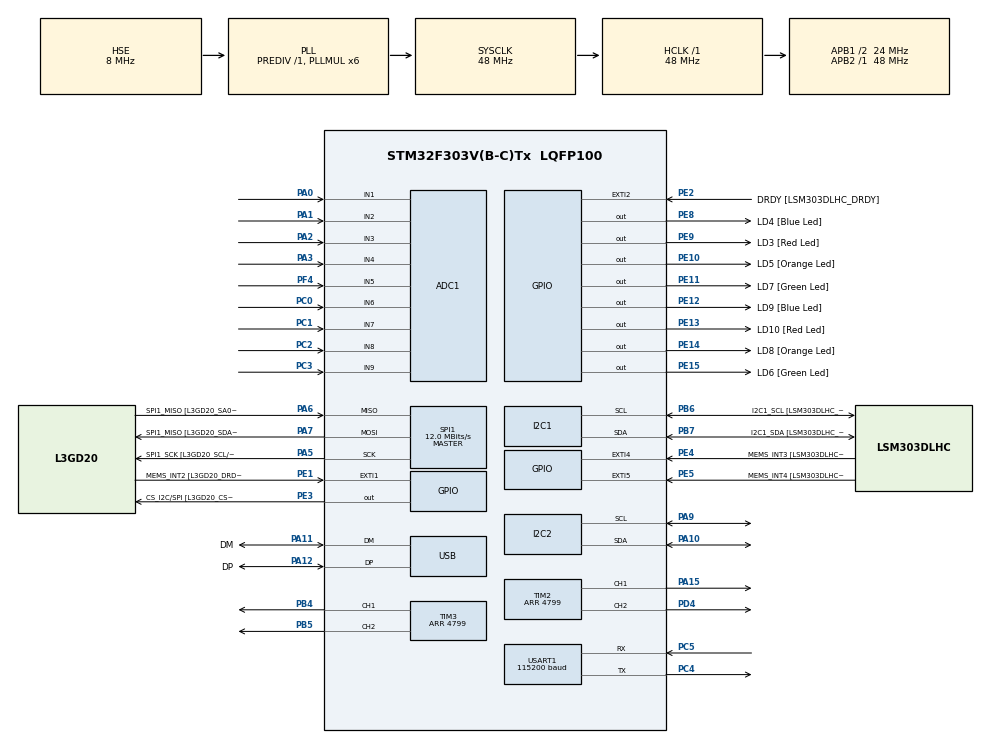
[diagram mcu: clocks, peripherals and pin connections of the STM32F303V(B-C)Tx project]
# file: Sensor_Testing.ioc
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ADC1.Channel-0\#ChannelRegularConversion=ADC_CHANNEL_1
ADC1.NbrOfConversionFlag=1
ADC1.Offset-0\#ChannelRegularConversion=0
ADC1.OffsetNumber-0\#ChannelRegularConversion=ADC_OFFSET_NONE
ADC1.Rank-0\#ChannelRegularConversion=1
ADC1.SamplingTime-0\#ChannelRegularConversion=ADC_SAMPLETIME_1CYCLE_5
ADC1.master=1
I2C1.Timing=0x00201D2B
I2C1.Timing-I2C=0x2000090E
I2C2.Timing=0x00201D2B
Mcu.Family=STM32F3
Mcu.Name=STM32F303V(B-C)Tx
Mcu.Package=LQFP100
NVIC.I2C1_EV_IRQn=true\:0\:0\:false\:false\:true\:true\:true\:true
NVIC.I2C2_EV_IRQn=true\:0\:0\:false\:false\:true\:true\:true\:true
NVIC.PriorityGroup=NVIC_PRIORITYGROUP_0
NVIC.USART1_IRQn=true\:0\:0\:false\:false\:true\:true\:true\:true
PA0.Mode=IN1-Single-Ended
PA0.Signal=ADC1_IN1
PA1.Mode=IN2-Single-Ended
PA1.Signal=ADC1_IN2
PA10.Mode=I2C
PA10.Signal=I2C2_SDA
PA11.GPIO_Label=DM
PA11.Mode=Device
PA11.Signal=USB_DM
PA12.GPIO_Label=DP
PA12.Mode=Device
PA12.Signal=USB_DP
PA13.GPIO_Label=SWDIO
PA13.Mode=Serial_Wire
PA13.Signal=SYS_JTMS-SWDIO
PA14.GPIO_Label=SWCLK
PA14.Mode=Serial_Wire
PA14.Signal=SYS_JTCK-SWCLK
PA15.Signal=S_TIM2_CH1_ETR
PA2.Mode=IN3-Single-Ended
PA2.Signal=ADC1_IN3
PA3.Mode=IN4-Single-Ended
PA3.Signal=ADC1_IN4
PA5.GPIO_Label=SPI1_SCK [L3GD20_SCL/SPC]
PA5.Mode=Full_Duplex_Master
PA5.Signal=SPI1_SCK
PA6.GPIO_Label=SPI1_MISO [L3GD20_SA0/SDO]
PA6.Mode=Full_Duplex_Master
PA6.Signal=SPI1_MISO
PA7.GPIO_Label=SPI1_MISO [L3GD20_SDA/SDI/SDO]
PA7.Mode=Full_Duplex_Master
PA7.Signal=SPI1_MOSI
PA9.Mode=I2C
PA9.Signal=I2C2_SCL
PB3.GPIO_Label=SWO
PB3.Signal=SYS_JTDO-TRACESWO
PB4.Signal=S_TIM3_CH1
PB5.Signal=S_TIM3_CH2
PB6.GPIO_Label=I2C1_SCL [LSM303DLHC_SCL]
PB6.GPIO_Pu=GPIO_PULLUP
PB6.Mode=I2C
PB6.Signal=I2C1_SCL
PB7.GPIO_Label=I2C1_SDA [LSM303DLHC_SDA]
PB7.GPIO_Pu=GPIO_PULLUP
PB7.Mode=I2C
PB7.Signal=I2C1_SDA
PC0.Signal=ADCx_IN6
PC1.Signal=ADCx_IN7
PC14-OSC32_IN.GPIO_Label=OSC32_IN
PC14-OSC32_IN.Signal=RCC_OSC32_IN
PC15-OSC32_OUT.GPIO_Label=OSC32_OUT
PC15-OSC32_OUT.Signal=RCC_OSC32_OUT
PC2.Signal=ADCx_IN8
PC3.Signal=ADCx_IN9
PC4.Mode=Asynchronous
PC4.Signal=USART1_TX
PC5.Mode=Asynchronous
PC5.Signal=USART1_RX
PD4.Signal=S_TIM2_CH2
PE1.GPIO_Label=MEMS_INT2 [L3GD20_DRDY/INT2]
PE1.GPIO_ModeDefaultEXTI=GPIO_MODE_EVT_RISING
PE1.Signal=GPXTI1
PE10.GPIO_Label=LD5 [Orange Led]
PE10.Signal=GPIO_Output
PE11.GPIO_Label=LD7 [Green Led]
PE11.Signal=GPIO_Output
PE12.GPIO_Label=LD9 [Blue Led]
PE12.Signal=GPIO_Output
PE13.GPIO_Label=LD10 [Red Led]
PE13.Signal=GPIO_Output
PE14.GPIO_Label=LD8 [Orange Led]
PE14.Signal=GPIO_Output
PE15.GPIO_Label=LD6 [Green Led]
PE15.Signal=GPIO_Output
PE2.GPIO_Label=DRDY [LSM303DLHC_DRDY]
PE2.GPIO_ModeDefaultEXTI=GPIO_MODE_EVT_RISING
PE2.Signal=GPXTI2
PE3.GPIO_Label=CS_I2C/SPI [L3GD20_CS_I2C/SPI]
PE3.Signal=GPIO_Output
PE4.GPIO_Label=MEMS_INT3 [LSM303DLHC_INT1]
PE4.GPIO_ModeDefaultEXTI=GPIO_MODE_EVT_RISING
PE4.Signal=GPXTI4
PE5.GPIO_Label=MEMS_INT4 [LSM303DLHC_INT2]
PE5.GPIO_ModeDefaultEXTI=GPIO_MODE_EVT_RISING
PE5.Signal=GPXTI5
PE8.GPIO_Label=LD4 [Blue Led]
PE8.Signal=GPIO_Output
PE9.GPIO_Label=LD3 [Red Led]
PE9.Signal=GPIO_Output
PF0-OSC_IN.GPIO_Label=OSC_IN
PF0-OSC_IN.Mode=HSE-External-Clock-Source
PF0-OSC_IN.Signal=RCC_OSC_IN
PF1-OSC_OUT.GPIO_Label=OSC_OUT
PF1-OSC_OUT.Signal=RCC_OSC_OUT
PF4.Mode=IN5-Single-Ended
PF4.Signal=ADC1_IN5
ProjectManager.HeapSize=0x200
ProjectManager.StackSize=0x400
ProjectManager.TargetToolchain=CMake
RCC.AHBFreq_Value=48000000
RCC.APB1CLKDivider=RCC_HCLK_DIV2
RCC.APB1Freq_Value=24000000
RCC.APB1TimFreq_Value=48000000
RCC.APB2Freq_Value=48000000
RCC.APB2TimFreq_Value=48000000
RCC.CortexFreq_Value=48000000
RCC.HCLKFreq_Value=48000000
RCC.HSE_VALUE=8000000
RCC.HSI_VALUE=8000000
RCC.LSE_VALUE=32768
RCC.PLLMUL=RCC_PLL_MUL6
RCC.SYSCLKFreq_VALUE=48000000
RCC.SYSCLKSourceVirtual=RCC_SYSCLKSOURCE_PLLCLK
RCC.USBFreq_Value=48000000
SH.ADCx_IN6.0=ADC1_IN6,IN6-Single-Ended
SH.ADCx_IN7.0=ADC1_IN7,IN7-Single-Ended
SH.ADCx_IN8.0=ADC1_IN8,IN8-Single-Ended
SH.ADCx_IN9.0=ADC1_IN9,IN9-Single-Ended
SH.S_TIM2_CH1_ETR.0=TIM2_CH1,PWM Generation1 CH1
SH.S_TIM2_CH2.0=TIM2_CH2,PWM Generation2 CH2
SH.S_TIM3_CH1.0=TIM3_CH1,PWM Generation1 CH1
SH.S_TIM3_CH2.0=TIM3_CH2,PWM Generation2 CH2
SPI1.BaudRatePrescaler=SPI_BAUDRATEPRESCALER_4
SPI1.BaudRatePrescaler-Full_Duplex_Master=SPI_BAUDRATEPRESCALER_2
SPI1.CalculateBaudRate=12.0 MBits/s
SPI1.CalculateBaudRate-Full_Duplex_Master=24.0 MBits/s
SPI1.Direction=SPI_DIRECTION_2LINES
SPI1.Mode=SPI_MODE_MASTER
SPI1.Mode-Full_Duplex_Master=SPI_MODE_MASTER
SPI1.VirtualType=VM_MASTER
TIM2.Channel-PWM\ Generation1\ CH1=TIM_CHANNEL_1
TIM2.Channel-PWM\ Generation2\ CH2=TIM_CHANNEL_2
TIM2.Period=4799
TIM3.Channel-PWM\ Generation1\ CH1=TIM_CHANNEL_1
TIM3.Channel-PWM\ Generation2\ CH2=TIM_CHANNEL_2
TIM3.Period=4799
USART1.BaudRate=115200
USART1.VirtualMode-Asynchronous=VM_ASYNC
VP_TIM2_VS_ClockSourceINT.Mode=Internal
VP_TIM3_VS_ClockSourceINT.Mode=Internal
board=STM32F3DISCOVERY

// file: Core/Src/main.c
/* USER CODE BEGIN Header */
/**
  ******************************************************************************
  * @file           : main.c
  * @brief          : Main program body
  ******************************************************************************
  * @attention
  *

  * Copyright (c) 2026 STMicroelectronics.
  * All rights reserved.
  *
  * This software is licensed under terms that can be found in the LICENSE file
  * in the root directory of this software component.
  * If no LICENSE file comes with this software, it is provided AS-IS.
  *
  ******************************************************************************
  */
/* USER CODE END Header */
#include "main.h"

/* USER CODE BEGIN Includes */
#include "qtr_8a.h"
#include <stdio.h>
#include <string.h>
#include "l298n.h"
/* USER CODE END Includes */

ADC_HandleTypeDef hadc1;

I2C_HandleTypeDef hi2c1;
I2C_HandleTypeDef hi2c2;

SPI_HandleTypeDef hspi1;

TIM_HandleTypeDef htim2;
TIM_HandleTypeDef htim3;

UART_HandleTypeDef huart1;

PCD_HandleTypeDef hpcd_USB_FS;

/* USER CODE BEGIN PV */
uint8_t qtr_state = 0;

L298N_Motor_t motor_left;
L298N_Motor_t motor_right;

/* Note: Assuming a timer like htim3 will be configured in CubeMX for PWM */
extern TIM_HandleTypeDef htim3;
/* USER CODE END PV */

void SystemClock_Config(void);
static void MX_GPIO_Init(void);
static void MX_I2C1_Init(void);
static void MX_SPI1_Init(void);
static void MX_USART1_UART_Init(void);
static void MX_USB_PCD_Init(void);
static void MX_I2C2_Init(void);
static void MX_ADC1_Init(void);
static void MX_TIM2_Init(void);
static void MX_TIM3_Init(void);

int main(void)
{

  /* MCU Configuration--------------------------------------------------------*/

  /* Reset of all peripherals, Initializes the Flash interface and the Systick. */
  HAL_Init();

  /* Configure the system clock */
  SystemClock_Config();

  /* Initialize all configured peripherals */
  MX_GPIO_Init();
  MX_I2C1_Init();
  MX_SPI1_Init();
  MX_USART1_UART_Init();
  MX_USB_PCD_Init();
  MX_I2C2_Init();
  MX_ADC1_Init();
  MX_TIM2_Init();
  MX_TIM3_Init();
  /* USER CODE BEGIN 2 */
  char msg[] = "QTR-8A Test (PA0-PA3)\r\n";
  HAL_UART_Transmit(&huart1, (uint8_t*)msg, strlen(msg), 100);

  QTR_Init(&hadc1);

  /* --- Simple Motor Test Setup --- */
  // Make sure to set these to your actual GPIO output pins in CubeMX!
  motor_left.IN1_Port = GPIOE;
  motor_left.IN1_Pin = GPIO_PIN_8;
  motor_left.IN2_Port = GPIOE;
  motor_left.IN2_Pin = GPIO_PIN_9;
  motor_left.htim = &htim3;         // Must be configured in CubeMX
  motor_left.channel = TIM_CHANNEL_1;
  motor_left.max_pwm = 4799;

  motor_right.IN1_Port = GPIOE;
  motor_right.IN1_Pin = GPIO_PIN_10;
  motor_right.IN2_Port = GPIOE;
  motor_right.IN2_Pin = GPIO_PIN_11;
  motor_right.htim = &htim3;        // Must be configured in CubeMX
  motor_right.channel = TIM_CHANNEL_2;
  motor_right.max_pwm = 4799;

  // Initialize motors
  L298N_Motor_Init(&motor_left);
  L298N_Motor_Init(&motor_right);
  /* USER CODE END 2 */

  /* Infinite loop */
  /* USER CODE BEGIN WHILE */
  while (1)
  {
    /* --- Motor Test Sequence --- */
    // Move Forward
    L298N_Motor_SetSpeed(&motor_left, 2400);  // 50% speed
    L298N_Motor_SetSpeed(&motor_right, 2400); // 50% speed
    HAL_Delay(2000);

    // Stop
    L298N_Motor_Stop(&motor_left);
    L298N_Motor_Stop(&motor_right);
    HAL_Delay(1000);

    // Move Backward
    L298N_Motor_SetSpeed(&motor_left, -2400);
    L298N_Motor_SetSpeed(&motor_right, -2400);
    HAL_Delay(2000);

    // Stop
    L298N_Motor_Stop(&motor_left);
    L298N_Motor_Stop(&motor_right);
    HAL_Delay(1000);

    /* USER CODE END WHILE */

    /* USER CODE BEGIN 3 */
    // (Previous QTR test code temporarily commented out for motor testing)
    /*
    qtr_state = QTR_ReadDigital();

    char buf[128];
    int pos = 0;

    // Start with carriage return to overwrite the same line
    pos += snprintf(buf + pos, sizeof(buf) - pos, "\rLine:   ");

    for (int i = 0; i < NUM_QTR_SENSORS; i++) {
        if (qtr_state & (1 << i)) {
            pos += snprintf(buf + pos, sizeof(buf) - pos, " | "); // Line detected (True)
        } else {
            pos += snprintf(buf + pos, sizeof(buf) - pos, "   "); // No line (False)
        }
    }

    pos += snprintf(buf + pos, sizeof(buf) - pos, "    ");

    HAL_UART_Transmit(&huart1, (uint8_t*)buf, strlen(buf), 100);
    */

    // HAL_Delay(50); // Usually need a small delay here if not using the long motor delays
  }
  /* USER CODE END 3 */
}

void SystemClock_Config(void)
{
  RCC_OscInitTypeDef RCC_OscInitStruct = {0};
  RCC_ClkInitTypeDef RCC_ClkInitStruct = {0};
  RCC_PeriphCLKInitTypeDef PeriphClkInit = {0};

  /** Initializes the RCC Oscillators according to the specified parameters
  * in the RCC_OscInitTypeDef structure.
  */
  RCC_OscInitStruct.OscillatorType = RCC_OSCILLATORTYPE_HSI|RCC_OSCILLATORTYPE_HSE;
  RCC_OscInitStruct.HSEState = RCC_HSE_BYPASS;
  RCC_OscInitStruct.HSEPredivValue = RCC_HSE_PREDIV_DIV1;
  RCC_OscInitStruct.HSIState = RCC_HSI_ON;
  RCC_OscInitStruct.HSICalibrationValue = RCC_HSICALIBRATION_DEFAULT;
  RCC_OscInitStruct.PLL.PLLState = RCC_PLL_ON;
  RCC_OscInitStruct.PLL.PLLSource = RCC_PLLSOURCE_HSE;
  RCC_OscInitStruct.PLL.PLLMUL = RCC_PLL_MUL6;
  if (HAL_RCC_OscConfig(&RCC_OscInitStruct) != HAL_OK)
  {
    Error_Handler();
  }

  /** Initializes the CPU, AHB and APB buses clocks
  */
  RCC_ClkInitStruct.ClockType = RCC_CLOCKTYPE_HCLK|RCC_CLOCKTYPE_SYSCLK
                              |RCC_CLOCKTYPE_PCLK1|RCC_CLOCKTYPE_PCLK2;
  RCC_ClkInitStruct.SYSCLKSource = RCC_SYSCLKSOURCE_PLLCLK;
  RCC_ClkInitStruct.AHBCLKDivider = RCC_SYSCLK_DIV1;
  RCC_ClkInitStruct.APB1CLKDivider = RCC_HCLK_DIV2;
  RCC_ClkInitStruct.APB2CLKDivider = RCC_HCLK_DIV1;

  if (HAL_RCC_ClockConfig(&RCC_ClkInitStruct, FLASH_LATENCY_1) != HAL_OK)
  {
    Error_Handler();
  }
  PeriphClkInit.PeriphClockSelection = RCC_PERIPHCLK_USB|RCC_PERIPHCLK_USART1
                              |RCC_PERIPHCLK_I2C1|RCC_PERIPHCLK_I2C2
                              |RCC_PERIPHCLK_ADC12;
  PeriphClkInit.Usart1ClockSelection = RCC_USART1CLKSOURCE_PCLK2;
  PeriphClkInit.Adc12ClockSelection = RCC_ADC12PLLCLK_DIV1;
  PeriphClkInit.I2c1ClockSelection = RCC_I2C1CLKSOURCE_HSI;
  PeriphClkInit.I2c2ClockSelection = RCC_I2C2CLKSOURCE_HSI;
  PeriphClkInit.USBClockSelection = RCC_USBCLKSOURCE_PLL;
  if (HAL_RCCEx_PeriphCLKConfig(&PeriphClkInit) != HAL_OK)
  {
    Error_Handler();
  }
}

static void MX_ADC1_Init(void)
{

  ADC_MultiModeTypeDef multimode = {0};
  ADC_ChannelConfTypeDef sConfig = {0};

  /* USER CODE BEGIN ADC1_Init 1 */
  __HAL_RCC_ADC12_CLK_ENABLE();
  /* USER CODE END ADC1_Init 1 */

  /** Common config
  */
  hadc1.Instance = ADC1;
  hadc1.Init.ClockPrescaler = ADC_CLOCK_ASYNC_DIV1;
  hadc1.Init.Resolution = ADC_RESOLUTION_12B;
  hadc1.Init.ScanConvMode = ADC_SCAN_DISABLE;
  hadc1.Init.ContinuousConvMode = DISABLE;
  hadc1.Init.DiscontinuousConvMode = DISABLE;
  hadc1.Init.ExternalTrigConvEdge = ADC_EXTERNALTRIGCONVEDGE_NONE;
  hadc1.Init.ExternalTrigConv = ADC_SOFTWARE_START;
  hadc1.Init.DataAlign = ADC_DATAALIGN_RIGHT;
  hadc1.Init.NbrOfConversion = 1;
  hadc1.Init.DMAContinuousRequests = DISABLE;
  hadc1.Init.EOCSelection = ADC_EOC_SINGLE_CONV;
  hadc1.Init.LowPowerAutoWait = DISABLE;
  hadc1.Init.Overrun = ADC_OVR_DATA_OVERWRITTEN;
  if (HAL_ADC_Init(&hadc1) != HAL_OK)
  {
    Error_Handler();
  }

  /** Configure the ADC multi-mode
  */
  multimode.Mode = ADC_MODE_INDEPENDENT;
  if (HAL_ADCEx_MultiModeConfigChannel(&hadc1, &multimode) != HAL_OK)
  {
    Error_Handler();
  }

  /** Configure Regular Channel
  */
  sConfig.Channel = ADC_CHANNEL_1;
  sConfig.Rank = ADC_REGULAR_RANK_1;
  sConfig.SingleDiff = ADC_SINGLE_ENDED;
  sConfig.SamplingTime = ADC_SAMPLETIME_1CYCLE_5;
  sConfig.OffsetNumber = ADC_OFFSET_NONE;
  sConfig.Offset = 0;
  if (HAL_ADC_ConfigChannel(&hadc1, &sConfig) != HAL_OK)
  {
    Error_Handler();
  }

}

static void MX_I2C1_Init(void)
{

  hi2c1.Instance = I2C1;
  hi2c1.Init.Timing = 0x00201D2B;
  hi2c1.Init.OwnAddress1 = 0;
  hi2c1.Init.AddressingMode = I2C_ADDRESSINGMODE_7BIT;
  hi2c1.Init.DualAddressMode = I2C_DUALADDRESS_DISABLE;
  hi2c1.Init.OwnAddress2 = 0;
  hi2c1.Init.OwnAddress2Masks = I2C_OA2_NOMASK;
  hi2c1.Init.GeneralCallMode = I2C_GENERALCALL_DISABLE;
  hi2c1.Init.NoStretchMode = I2C_NOSTRETCH_DISABLE;
  if (HAL_I2C_Init(&hi2c1) != HAL_OK)
  {
    Error_Handler();
  }

  /** Configure Analogue filter
  */
  if (HAL_I2CEx_ConfigAnalogFilter(&hi2c1, I2C_ANALOGFILTER_ENABLE) != HAL_OK)
  {
    Error_Handler();
  }

  /** Configure Digital filter
  */
  if (HAL_I2CEx_ConfigDigitalFilter(&hi2c1, 0) != HAL_OK)
  {
    Error_Handler();
  }

}

static void MX_I2C2_Init(void)
{

  hi2c2.Instance = I2C2;
  hi2c2.Init.Timing = 0x00201D2B;
  hi2c2.Init.OwnAddress1 = 0;
  hi2c2.Init.AddressingMode = I2C_ADDRESSINGMODE_7BIT;
  hi2c2.Init.DualAddressMode = I2C_DUALADDRESS_DISABLE;
  hi2c2.Init.OwnAddress2 = 0;
  hi2c2.Init.OwnAddress2Masks = I2C_OA2_NOMASK;
  hi2c2.Init.GeneralCallMode = I2C_GENERALCALL_DISABLE;
  hi2c2.Init.NoStretchMode = I2C_NOSTRETCH_DISABLE;
  if (HAL_I2C_Init(&hi2c2) != HAL_OK)
  {
    Error_Handler();
  }

  /** Configure Analogue filter
  */
  if (HAL_I2CEx_ConfigAnalogFilter(&hi2c2, I2C_ANALOGFILTER_ENABLE) != HAL_OK)
  {
    Error_Handler();
  }

  /** Configure Digital filter
  */
  if (HAL_I2CEx_ConfigDigitalFilter(&hi2c2, 0) != HAL_OK)
  {
    Error_Handler();
  }

}

static void MX_SPI1_Init(void)
{

  /* SPI1 parameter configuration*/
  hspi1.Instance = SPI1;
  hspi1.Init.Mode = SPI_MODE_MASTER;
  hspi1.Init.Direction = SPI_DIRECTION_2LINES;
  hspi1.Init.DataSize = SPI_DATASIZE_4BIT;
  hspi1.Init.CLKPolarity = SPI_POLARITY_LOW;
  hspi1.Init.CLKPhase = SPI_PHASE_1EDGE;
  hspi1.Init.NSS = SPI_NSS_SOFT;
  hspi1.Init.BaudRatePrescaler = SPI_BAUDRATEPRESCALER_4;
  hspi1.Init.FirstBit = SPI_FIRSTBIT_MSB;
  hspi1.Init.TIMode = SPI_TIMODE_DISABLE;
  hspi1.Init.CRCCalculation = SPI_CRCCALCULATION_DISABLE;
  hspi1.Init.CRCPolynomial = 7;
  hspi1.Init.CRCLength = SPI_CRC_LENGTH_DATASIZE;
  hspi1.Init.NSSPMode = SPI_NSS_PULSE_ENABLE;
  if (HAL_SPI_Init(&hspi1) != HAL_OK)
  {
    Error_Handler();
  }

}

static void MX_TIM2_Init(void)
{

  TIM_ClockConfigTypeDef sClockSourceConfig = {0};
  TIM_MasterConfigTypeDef sMasterConfig = {0};
  TIM_OC_InitTypeDef sConfigOC = {0};

  htim2.Instance = TIM2;
  htim2.Init.Prescaler = 0;
  htim2.Init.CounterMode = TIM_COUNTERMODE_UP;
  htim2.Init.Period = 4799;
  htim2.Init.ClockDivision = TIM_CLOCKDIVISION_DIV1;
  htim2.Init.AutoReloadPreload = TIM_AUTORELOAD_PRELOAD_DISABLE;
  if (HAL_TIM_Base_Init(&htim2) != HAL_OK)
  {
    Error_Handler();
  }
  sClockSourceConfig.ClockSource = TIM_CLOCKSOURCE_INTERNAL;
  if (HAL_TIM_ConfigClockSource(&htim2, &sClockSourceConfig) != HAL_OK)
  {
    Error_Handler();
  }
  if (HAL_TIM_PWM_Init(&htim2) != HAL_OK)
  {
    Error_Handler();
  }
  sMasterConfig.MasterOutputTrigger = TIM_TRGO_RESET;
  sMasterConfig.MasterSlaveMode = TIM_MASTERSLAVEMODE_DISABLE;
  if (HAL_TIMEx_MasterConfigSynchronization(&htim2, &sMasterConfig) != HAL_OK)
  {
    Error_Handler();
  }
  sConfigOC.OCMode = TIM_OCMODE_PWM1;
  sConfigOC.Pulse = 0;
  sConfigOC.OCPolarity = TIM_OCPOLARITY_HIGH;
  sConfigOC.OCFastMode = TIM_OCFAST_DISABLE;
  if (HAL_TIM_PWM_ConfigChannel(&htim2, &sConfigOC, TIM_CHANNEL_1) != HAL_OK)
  {
    Error_Handler();
  }
  if (HAL_TIM_PWM_ConfigChannel(&htim2, &sConfigOC, TIM_CHANNEL_2) != HAL_OK)
  {
    Error_Handler();
  }
  HAL_TIM_MspPostInit(&htim2);

}

static void MX_TIM3_Init(void)
{

  TIM_ClockConfigTypeDef sClockSourceConfig = {0};
  TIM_MasterConfigTypeDef sMasterConfig = {0};
  TIM_OC_InitTypeDef sConfigOC = {0};

  htim3.Instance = TIM3;
  htim3.Init.Prescaler = 0;
  htim3.Init.CounterMode = TIM_COUNTERMODE_UP;
  htim3.Init.Period = 4799;
  htim3.Init.ClockDivision = TIM_CLOCKDIVISION_DIV1;
  htim3.Init.AutoReloadPreload = TIM_AUTORELOAD_PRELOAD_DISABLE;
  if (HAL_TIM_Base_Init(&htim3) != HAL_OK)
  {
    Error_Handler();
  }
  sClockSourceConfig.ClockSource = TIM_CLOCKSOURCE_INTERNAL;
  if (HAL_TIM_ConfigClockSource(&htim3, &sClockSourceConfig) != HAL_OK)
  {
    Error_Handler();
  }
  if (HAL_TIM_PWM_Init(&htim3) != HAL_OK)
  {
    Error_Handler();
  }
  sMasterConfig.MasterOutputTrigger = TIM_TRGO_RESET;
  sMasterConfig.MasterSlaveMode = TIM_MASTERSLAVEMODE_DISABLE;
  if (HAL_TIMEx_MasterConfigSynchronization(&htim3, &sMasterConfig) != HAL_OK)
  {
    Error_Handler();
  }
  sConfigOC.OCMode = TIM_OCMODE_PWM1;
  sConfigOC.Pulse = 0;
  sConfigOC.OCPolarity = TIM_OCPOLARITY_HIGH;
  sConfigOC.OCFastMode = TIM_OCFAST_DISABLE;
  if (HAL_TIM_PWM_ConfigChannel(&htim3, &sConfigOC, TIM_CHANNEL_1) != HAL_OK)
  {
    Error_Handler();
  }
  if (HAL_TIM_PWM_ConfigChannel(&htim3, &sConfigOC, TIM_CHANNEL_2) != HAL_OK)
  {
    Error_Handler();
  }
  HAL_TIM_MspPostInit(&htim3);

}

static void MX_USART1_UART_Init(void)
{

  huart1.Instance = USART1;
  huart1.Init.BaudRate = 115200;
  huart1.Init.WordLength = UART_WORDLENGTH_8B;
  huart1.Init.StopBits = UART_STOPBITS_1;
  huart1.Init.Parity = UART_PARITY_NONE;
  huart1.Init.Mode = UART_MODE_TX_RX;
  huart1.Init.HwFlowCtl = UART_HWCONTROL_NONE;
  huart1.Init.OverSampling = UART_OVERSAMPLING_16;
  huart1.Init.OneBitSampling = UART_ONE_BIT_SAMPLE_DISABLE;
  huart1.AdvancedInit.AdvFeatureInit = UART_ADVFEATURE_NO_INIT;
  if (HAL_UART_Init(&huart1) != HAL_OK)
  {
    Error_Handler();
  }

}

static void MX_USB_PCD_Init(void)
{

  hpcd_USB_FS.Instance = USB;
  hpcd_USB_FS.Init.dev_endpoints = 8;
  hpcd_USB_FS.Init.speed = PCD_SPEED_FULL;
  hpcd_USB_FS.Init.phy_itface = PCD_PHY_EMBEDDED;
  hpcd_USB_FS.Init.low_power_enable = DISABLE;
  hpcd_USB_FS.Init.battery_charging_enable = DISABLE;
  if (HAL_PCD_Init(&hpcd_USB_FS) != HAL_OK)
  {
    Error_Handler();
  }

}

static void MX_GPIO_Init(void)
{
  GPIO_InitTypeDef GPIO_InitStruct = {0};

  /* GPIO Ports Clock Enable */
  __HAL_RCC_GPIOE_CLK_ENABLE();
  __HAL_RCC_GPIOC_CLK_ENABLE();
  __HAL_RCC_GPIOF_CLK_ENABLE();
  __HAL_RCC_GPIOA_CLK_ENABLE();
  __HAL_RCC_GPIOD_CLK_ENABLE();
  __HAL_RCC_GPIOB_CLK_ENABLE();

  /*Configure GPIO pin Output Level */
  HAL_GPIO_WritePin(GPIOE, CS_I2C_SPI_Pin|LD4_Pin|LD3_Pin|LD5_Pin
                          |LD7_Pin|LD9_Pin|LD10_Pin|LD8_Pin
                          |LD6_Pin, GPIO_PIN_RESET);

  /*Configure GPIO pins : DRDY_Pin MEMS_INT3_Pin MEMS_INT4_Pin MEMS_INT2_Pin */
  GPIO_InitStruct.Pin = DRDY_Pin|MEMS_INT3_Pin|MEMS_INT4_Pin|MEMS_INT2_Pin;
  GPIO_InitStruct.Mode = GPIO_MODE_EVT_RISING;
  GPIO_InitStruct.Pull = GPIO_NOPULL;
  HAL_GPIO_Init(GPIOE, &GPIO_InitStruct);

  /*Configure GPIO pins : CS_I2C_SPI_Pin LD4_Pin LD3_Pin LD5_Pin
                           LD7_Pin LD9_Pin LD10_Pin LD8_Pin
                           LD6_Pin */
  GPIO_InitStruct.Pin = CS_I2C_SPI_Pin|LD4_Pin|LD3_Pin|LD5_Pin
                          |LD7_Pin|LD9_Pin|LD10_Pin|LD8_Pin
                          |LD6_Pin;
  GPIO_InitStruct.Mode = GPIO_MODE_OUTPUT_PP;
  GPIO_InitStruct.Pull = GPIO_NOPULL;
  GPIO_InitStruct.Speed = GPIO_SPEED_FREQ_LOW;
  HAL_GPIO_Init(GPIOE, &GPIO_InitStruct);

  /* USER CODE BEGIN MX_GPIO_Init_2 */
  /* Configure PA0, PA1, PA2, PA3 as Analog */
  GPIO_InitStruct.Pin = GPIO_PIN_0 | GPIO_PIN_1 | GPIO_PIN_2 | GPIO_PIN_3;
  GPIO_InitStruct.Mode = GPIO_MODE_ANALOG;
  GPIO_InitStruct.Pull = GPIO_NOPULL;
  HAL_GPIO_Init(GPIOA, &GPIO_InitStruct);

  /* Configure PC0, PC1, PC2, PC3 as Analog */
  GPIO_InitStruct.Pin = GPIO_PIN_0 | GPIO_PIN_1 | GPIO_PIN_2 | GPIO_PIN_3;
  GPIO_InitStruct.Mode = GPIO_MODE_ANALOG;
  GPIO_InitStruct.Pull = GPIO_NOPULL;
  HAL_GPIO_Init(GPIOC, &GPIO_InitStruct);
  /* USER CODE END MX_GPIO_Init_2 */
}

void Error_Handler(void)
{
  __disable_irq();
  while (1)
  {
  }
}
